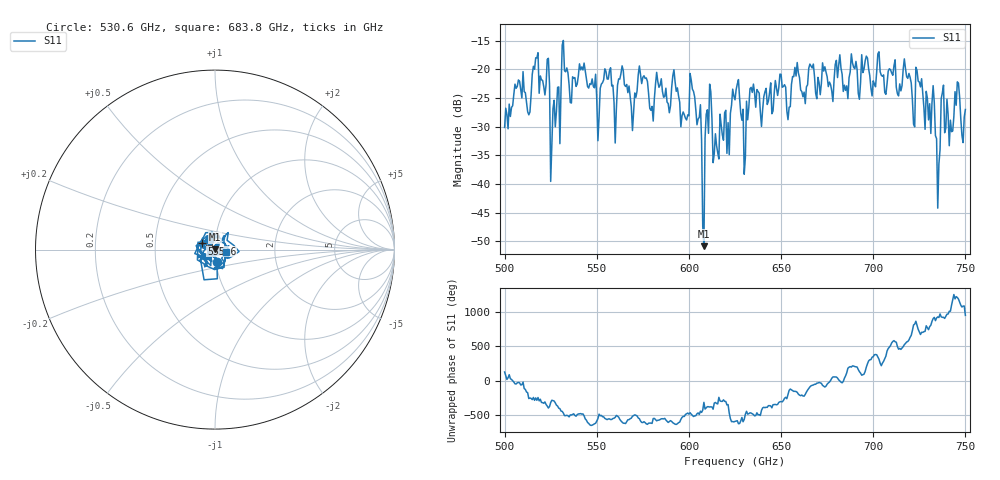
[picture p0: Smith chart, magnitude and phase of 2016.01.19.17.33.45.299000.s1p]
!Created with skrf (http://scikit-rf.org).
# GHz S RI R 50.0
!freq ReS11 ImS11
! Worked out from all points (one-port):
!   401 points, 500 GHz to 750 GHz, reference 50 ohm
!   lowest |S11| = -50.9 dB at 608.1 GHz (marker M1), VSWR 1.01, Z = 50.2 + j0.204 ohm
!   |S11| at or under -10 dB: start of sweep to end of sweep
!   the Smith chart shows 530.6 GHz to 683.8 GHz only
!   S11 on the Smith chart (normalised r, x): 530.6 GHz: 1.01, -0.14; 555.6 GHz: 0.86, +0.06; 683.8 GHz: 1.13, -0.03
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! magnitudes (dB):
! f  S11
! 500 GHz  -30.1
! 506.9 GHz  -23.0
! 513.1 GHz  -27.9
! 516.9 GHz  -18.0
! 523.1 GHz  -18.3
! 526.2 GHz  -26.9
! 530.6 GHz  -23.2
! 531.2 GHz  -15.8
! 551.2 GHz  -28.3
! 555.6 GHz  -21.7
! 559.4 GHz  -25.8
! 562.5 GHz  -21.7
! 593.8 GHz  -23.2
! 601.9 GHz  -23.4
! 608.1 GHz  -50.9
! 610.6 GHz  -31.2
! 614.4 GHz  -31.2
! 625 GHz  -25.3
! 629.4 GHz  -27.0
! 634.4 GHz  -24.0
! 656.2 GHz  -21.2
! 683.8 GHz  -23.8
! 687.5 GHz  -20.4
! 718.8 GHz  -21.6
! 731.9 GHz  -25.8
! 735 GHz  -44.2
! 738.1 GHz  -22.7
! 750 GHz  -27.0
